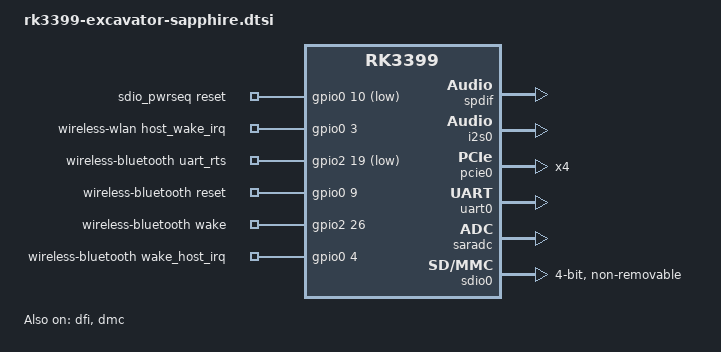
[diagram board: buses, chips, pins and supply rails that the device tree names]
/*
 * Copyright (c) 2016 Fuzhou Rockchip Electronics Co., Ltd
 *
 * This file is dual-licensed: you can use it either under the terms
 * of the GPL or the X11 license, at your option. Note that this dual
 * licensing only applies to this file, and not this project as a
 * whole.
 *
 *  a) This file is free software; you can redistribute it and/or
 *     modify it under the terms of the GNU General Public License as
 *     published by the Free Software Foundation; either version 2 of the
 *     License, or (at your option) any later version.
 *
 *     This file is distributed in the hope that it will be useful,
 *     but WITHOUT ANY WARRANTY; without even the implied warranty of
 *     MERCHANTABILITY or FITNESS FOR A PARTICULAR PURPOSE.  See the
 *     GNU General Public License for more details.
 *
 * Or, alternatively,
 *
 *  b) Permission is hereby granted, free of charge, to any person
 *     obtaining a copy of this software and associated documentation
 *     files (the "Software"), to deal in the Software without
 *     restriction, including without limitation the rights to use,
 *     copy, modify, merge, publish, distribute, sublicense, and/or
 *     sell copies of the Software, and to permit persons to whom the
 *     Software is furnished to do so, subject to the following
 *     conditions:
 *
 *     The above copyright notice and this permission notice shall be
 *     included in all copies or substantial portions of the Software.
 *
 *     THE SOFTWARE IS PROVIDED "AS IS", WITHOUT WARRANTY OF ANY KIND,
 *     EXPRESS OR IMPLIED, INCLUDING BUT NOT LIMITED TO THE WARRANTIES
 *     OF MERCHANTABILITY, FITNESS FOR A PARTICULAR PURPOSE AND
 *     NONINFRINGEMENT. IN NO EVENT SHALL THE AUTHORS OR COPYRIGHT
 *     HOLDERS BE LIABLE FOR ANY CLAIM, DAMAGES OR OTHER LIABILITY,
 *     WHETHER IN AN ACTION OF CONTRACT, TORT OR OTHERWISE, ARISING
 *     FROM, OUT OF OR IN CONNECTION WITH THE SOFTWARE OR THE USE OR
 *     OTHER DEALINGS IN THE SOFTWARE.
 */

#include "rk3399-sapphire.dtsi"
#include <dt-bindings/sensor-dev.h>
/ {
	compatible = "rockchip,rk3399-sapphire-excavator", "rockchip,rk3399";

	sdio_pwrseq: sdio-pwrseq {
		compatible = "mmc-pwrseq-simple";
		clocks = <&rk808 1>;
		clock-names = "ext_clock";
		pinctrl-names = "default";
		pinctrl-0 = <&wifi_enable_h>;

		/*
		 * On the module itself this is one of these (depending
		 * on the actual card populated):
		 * - SDIO_RESET_L_WL_REG_ON
		 * - PDN (power down when low)
		 */
		reset-gpios = <&gpio0 10 GPIO_ACTIVE_LOW>; /* GPIO0_B2 */
	};

	wireless-wlan {
		compatible = "wlan-platdata";
		rockchip,grf = <&grf>;
		wifi_chip_type = "ap6256";		//"rtl8723bs";	//"ap6354";
		sdio_vref = <1800>;
		WIFI,host_wake_irq = <&gpio0 3 GPIO_ACTIVE_HIGH>; /* GPIO0_a3 */
		status = "okay";
	};

	wireless-bluetooth {
		compatible = "bluetooth-platdata";
		clocks = <&rk808 1>;
		clock-names = "ext_clock";
		//wifi-bt-power-toggle;
		uart_rts_gpios = <&gpio2 19 GPIO_ACTIVE_LOW>; /* GPIO2_C3 */
		pinctrl-names = "default", "rts_gpio";
		pinctrl-0 = <&uart0_rts>, <&bt_reset_gpio>, <&bt_wake_gpio>, <&bt_irq_gpio>;
		pinctrl-1 = <&uart0_gpios>;
		//BT,power_gpio  = <&gpio3 19 GPIO_ACTIVE_HIGH>; /* GPIOx_xx */
		BT,reset_gpio    = <&gpio0 9 GPIO_ACTIVE_HIGH>; /* GPIO0_B1 */
		BT,wake_gpio     = <&gpio2 26 GPIO_ACTIVE_HIGH>; /* GPIO2_D2 */
		BT,wake_host_irq = <&gpio0 4 GPIO_ACTIVE_HIGH>; /* GPIO0_A4 */
		status = "okay";
	};
};

&dfi {
	status = "okay";		//"disabled";	//
};

&dmc {
	status = "okay";	//"disabled";	//
	center-supply = <&vdd_center>;
	upthreshold = <40>;
	downdifferential = <20>;
	system-status-freq = <
		/*system status         freq(KHz)*/
		SYS_STATUS_NORMAL       856000	//800000
		SYS_STATUS_REBOOT       856000	//800000	//528000	
		SYS_STATUS_SUSPEND      856000	//800000	//200000
		SYS_STATUS_VIDEO_1080P  856000	//800000	//200000
		SYS_STATUS_VIDEO_4K     856000	//800000	//600000
		SYS_STATUS_VIDEO_4K_10B 856000	//800000	//800000
		SYS_STATUS_PERFORMANCE  856000	//800000	//800000
		SYS_STATUS_BOOST        856000	//800000	//600000
		SYS_STATUS_DUALVIEW     856000	//800000	//600000
		SYS_STATUS_ISP          856000	//800000	//600000
	>;
	vop-bw-dmc-freq = <
	/* min_bw(MB/s) max_bw(MB/s) freq(KHz) */
		0       762      200000
		763     1893     400000
		1894    3012     528000
		3013    99999    800000
		3113    99999    856000		
	>;
	auto-freq-en = <0>;
	auto-min-freq = <200000>;
};


&spdif {
	status = "okay";
	pinctrl-0 = <&spdif_bus>;
	i2c-scl-rising-time-ns = <450>;
	i2c-scl-falling-time-ns = <15>;
	#sound-dai-cells = <0>;
};

&i2s0 {
	status = "okay";
	rockchip,playback-channels = <8>;
	rockchip,capture-channels = <8>;
	#sound-dai-cells = <0>;
};

&pcie0 {
	status = "okay";
	ep-gpios = <&gpio4 30 GPIO_ACTIVE_HIGH>;		//gpio4_d6 pcie rst
	num-lanes = <4>;
	pinctrl-names = "default";
	pinctrl-0 = <&pcie_clkreqnb_cpm>;		//gpio4_d0			//<&pcie_clkreqn_cpm>;	//
};

&uart0 {
	pinctrl-names = "default";
	pinctrl-0 = <&uart0_xfer &uart0_cts>;
	status = "okay";
};

&saradc {
	status = "okay";
};

&sdio0 {
	max-frequency = <100000000>;
	supports-sdio;
	bus-width = <4>;
	disable-wp;
	cap-sd-highspeed;
	cap-sdio-irq;
	keep-power-in-suspend;
	mmc-pwrseq = <&sdio_pwrseq>;
	non-removable;
	num-slots = <1>;
	pinctrl-names = "default";
	pinctrl-0 = <&sdio0_bus4 &sdio0_cmd &sdio0_clk>;
	sd-uhs-sdr104;
	status = "okay";
};

&rockchip_suspend {
	status = "okay";
	rockchip,sleep-debug-en = <1>;
	rockchip,sleep-mode-config = <
		(0
		| RKPM_SLP_ARMPD
		| RKPM_SLP_PERILPPD
		| RKPM_SLP_DDR_RET
		| RKPM_SLP_PLLPD
		| RKPM_SLP_CENTER_PD
		| RKPM_SLP_AP_PWROFF
		)
		>;
	rockchip,wakeup-config = <
		(0
		| RKPM_GPIO_WKUP_EN
		| RKPM_PWM_WKUP_EN
		)
		>;
		rockchip,pwm-regulator-config = <
		(0
		| PWM2_REGULATOR_EN
		)
		>;
		rockchip,power-ctrl =
		<&gpio1 17 GPIO_ACTIVE_HIGH>;	//,
		//<&gpio1 14 GPIO_ACTIVE_HIGH>;
};

&pinctrl {
	sdio-pwrseq {
		wifi_enable_h: wifi-enable-h {
			rockchip,pins =
				<0 RK_PB2 RK_FUNC_GPIO &pcfg_pull_none>;
		};
	};

	wireless-bluetooth {
		uart0_gpios: uart0-gpios {
			rockchip,pins =
				<2 RK_PC3 RK_FUNC_GPIO &pcfg_pull_none>;
		};
		bt_reset_gpio: bt-reset-gpio {
			rockchip,pins =
				<0 RK_PB1 RK_FUNC_GPIO &pcfg_pull_none>;
		};
		bt_wake_gpio: bt-wake-gpio {
			rockchip,pins =
				<2 RK_PD2 RK_FUNC_GPIO &pcfg_pull_none>;
		};
		bt_irq_gpio: bt-irq-gpio {
			rockchip,pins =
				<0 RK_PA4 RK_FUNC_GPIO &pcfg_pull_down>;
		};
	};
};
